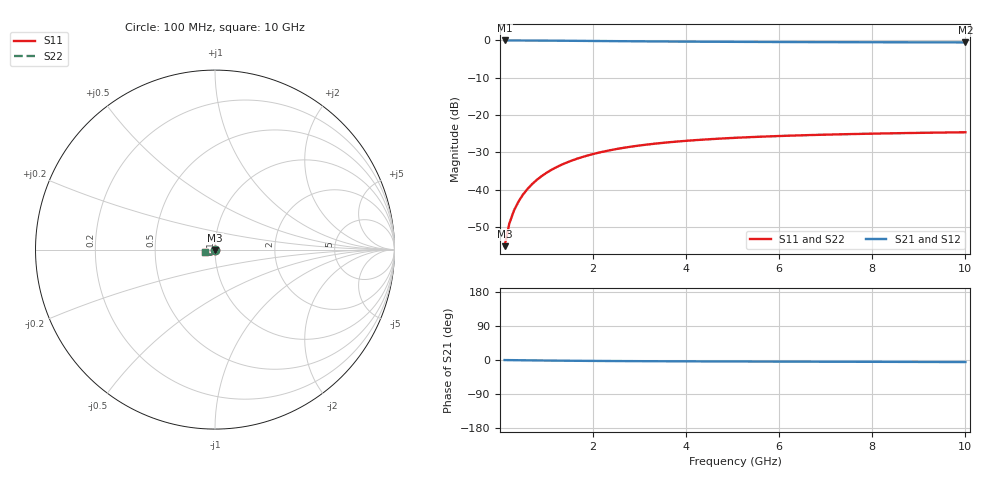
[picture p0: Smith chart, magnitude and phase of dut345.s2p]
! Touchstone file exported from HFSS 2024.1.0
!  File:  C:/UserFiles/LocalFiles/RDL_TSV_Batchsim/temp_TSV1_345_1779619511.aedt
!  Generated:  06:50:11 PM May 24, 2026
!  Design:  TSV1
!  Project:  temp_TSV1_345_1779619511
!  Setup:  Setup1
!  Solution:  Sweep
! Variables:
!  dtsv = 13.45um
!  hbump = 3um
!  htsv = 83.87um
!  lrdl = 252.1521522um
!  p = 40
!  p1 = 52.68um
!  t = 500um
!  trdl = 3um
!  wrdl = 24.89489489um
# GHz S MA R 50.000000
! Terminal data exported
! Port[1] = TSV22_T1
! Port[2] = TSV22_T2
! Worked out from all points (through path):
!   100 points, 100 MHz to 10 GHz, reference 50 ohm
!   highest |S21| = 0.00 dB at 100 MHz (marker M1); lowest = -0.5 dB at 10 GHz (marker M2)
!   lowest |S11| = -55.2 dB at 100 MHz (marker M3), VSWR 1.00, Z = 50 - j0.174 ohm
!   |S11| at or under -10 dB: start of sweep to end of sweep
!   |S22| runs from -55.2 to -24.6 dB; largest |S21 - S12| = 5e-15
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0.1  0.001741 -88.9  0.9999 -0.1  0.9999 -0.1  0.001741 -88.9
! Gamma 0 0 0 0
! Port Impedance 50 0 50 0
0.2  0.00348 -92.0  0.9997 -0.3  0.9997 -0.3  0.00348 -92.0
0.3  0.005216 -94.2  0.9994 -0.4  0.9994 -0.4  0.005216 -94.2
0.4  0.006943 -96.2  0.999 -0.6  0.999 -0.6  0.006943 -96.2
0.5  0.008653 -98.1  0.9985 -0.7  0.9985 -0.7  0.008653 -98.1
0.6  0.01034 -100.0  0.9979 -0.9  0.9979 -0.9  0.01034 -100.0
0.7  0.012 -101.8  0.9972 -1.0  0.9972 -1.0  0.012 -101.8
0.8  0.01363 -103.6  0.9965 -1.1  0.9965 -1.1  0.01363 -103.6
0.9  0.01522 -105.4  0.9957 -1.3  0.9957 -1.3  0.01522 -105.4
1.1  0.01829 -108.8  0.9939 -1.5  0.9939 -1.5  0.01829 -108.8
1.4  0.02258 -113.6  0.9908 -1.9  0.9908 -1.9  0.02258 -113.6
1.6  0.02522 -116.6  0.9886 -2.1  0.9886 -2.1  0.02522 -116.6
1.8  0.02768 -119.5  0.9863 -2.2  0.9863 -2.2  0.02768 -119.5
2.1  0.03103 -123.5  0.9829 -2.5  0.9829 -2.5  0.03103 -123.5
2.5  0.03493 -128.3  0.9785 -2.8  0.9785 -2.8  0.03493 -128.3
2.9  0.03825 -132.7  0.9743 -3.0  0.9743 -3.0  0.03825 -132.7
3.4  0.04171 -137.4  0.9695 -3.3  0.9695 -3.3  0.04171 -137.4
4.2  0.04602 -143.8  0.9631 -3.6  0.9631 -3.6  0.04602 -143.8
5.1  0.0496 -149.7  0.9574 -3.9  0.9574 -3.9  0.0496 -149.7
6.7  0.0539 -157.8  0.9501 -4.4  0.9501 -4.4  0.0539 -157.8
8.4  0.05682 -164.3  0.945 -4.9  0.945 -4.9  0.05682 -164.3
10  0.0587 -169.3  0.9417 -5.4  0.9417 -5.4  0.0587 -169.3
